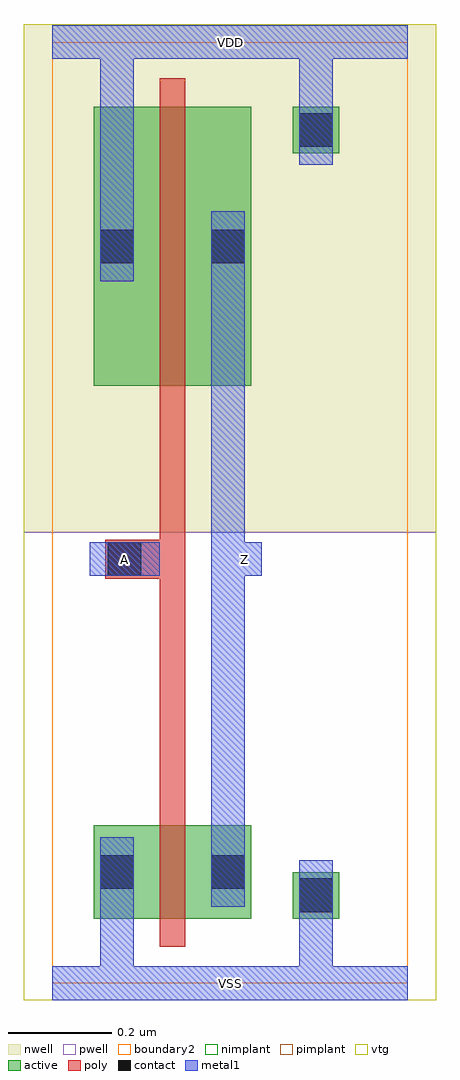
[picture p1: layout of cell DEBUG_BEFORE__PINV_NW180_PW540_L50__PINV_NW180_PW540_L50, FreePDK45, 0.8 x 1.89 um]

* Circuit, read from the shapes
.subckt DEBUG_BEFORE__PINV_NW180_PW540_L50__PINV_NW180_PW540_L50 A VDD VSS Z
M1 Z A VSS VSS nfet w=0.18u l=0.05u
M2 Z A VDD VDD pfet w=0.54u l=0.05u
.ends

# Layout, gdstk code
import gdstk
lib = gdstk.Library(unit=1e-6, precision=5e-10)
def R(c, l, rs):  # rectangles x0, y0, x1, y1
    for r in rs: c.add(gdstk.rectangle(r[:2], r[2:], *l))
active = (1, 0)
pwell = (2, 0)
nwell = (3, 0)
nimplant = (4, 0)
pimplant = (5, 0)
vtg = (6, 0)
poly = (9, 0)
contact = (10, 0)
metal1 = (11, 0)
boundary2 = (239, 0)

debug_before__pinv_nw180 = lib.new_cell('DEBUG_BEFORE__PINV_NW180_PW540_L50__TRANSMISSION_GATE_NW250_PW500_L50_contact_8')
R(debug_before__pinv_nw180, active, [(0,0.0225,0.09,0.1125)])
R(debug_before__pinv_nw180, nwell, [(-0.055,-0.0325,0.145,0.1675)])
R(debug_before__pinv_nw180, pimplant, [(0,0.0225,0.09,0.1125)])
R(debug_before__pinv_nw180, contact, [(0.0125,0.035,0.0775,0.1)])
R(debug_before__pinv_nw180, metal1, [(0.0125,0,0.0775,0.135)])
R(debug_before__pinv_nw180, boundary2, [(-0.055,-0.0325,0.145,0.1675)])

c_debug_before__pinv_nw180 = lib.new_cell('DEBUG_BEFORE__PINV_NW180_PW540_L50__PINV_NW180_PW540_L50_pmos_m1_w0_540_sm1_dm1_da_p')
R(c_debug_before__pinv_nw180, active, [(0,0,0.305,0.54)])
R(c_debug_before__pinv_nw180, nwell, [(-0.08,-0.08,0.385,0.62)])
R(c_debug_before__pinv_nw180, pimplant, [(0,0,0.305,0.54)])
R(c_debug_before__pinv_nw180, vtg, [(-0.08,-0.08,0.385,0.62)])
R(c_debug_before__pinv_nw180, poly, [(0.1275,-0.055,0.1775,0.595), (0.1275,-0.055,0.1775,0.595)])
R(c_debug_before__pinv_nw180, metal1, [(0.0125,0.2025,0.0775,0.3375), (0.2275,0.2025,0.2925,0.3375)])
R(c_debug_before__pinv_nw180, boundary2, [(-0.08,-0.08,0.385,0.62)])
c_debug_before__pinv_nw180.add(gdstk.Reference(debug_before__pinv_nw180, (0,0.2025)))
c_debug_before__pinv_nw180.add(gdstk.Reference(debug_before__pinv_nw180, (0.215,0.2025)))
c_debug_before__pinv_nw180.add(gdstk.Label('G', (0.1525,0.27), layer=9, texttype=0))
c_debug_before__pinv_nw180.add(gdstk.Label('S', (0.045,0.27), layer=11, texttype=0))
c_debug_before__pinv_nw180.add(gdstk.Label('D', (0.26,0.27), layer=11, texttype=0))

c_debug_before__pinv_nw180_ = lib.new_cell('DEBUG_BEFORE__PINV_NW180_PW540_L50__TRANSMISSION_GATE_NW250_PW500_L50_contact_7')
R(c_debug_before__pinv_nw180_, active, [(0,0.0225,0.09,0.1125)])
R(c_debug_before__pinv_nw180_, pwell, [(-0.055,-0.0325,0.145,0.1675)])
R(c_debug_before__pinv_nw180_, nimplant, [(0,0.0225,0.09,0.1125)])
R(c_debug_before__pinv_nw180_, contact, [(0.0125,0.035,0.0775,0.1)])
R(c_debug_before__pinv_nw180_, metal1, [(0.0125,0,0.0775,0.135)])
R(c_debug_before__pinv_nw180_, boundary2, [(-0.055,-0.0325,0.145,0.1675)])

c_debug_before__pinv_nw180__ = lib.new_cell('DEBUG_BEFORE__PINV_NW180_PW540_L50__PINV_NW180_PW270_L50_nmos_m1_w0_180_sm1_dm1_da_p')
R(c_debug_before__pinv_nw180__, active, [(0,0,0.305,0.18)])
R(c_debug_before__pinv_nw180__, pwell, [(-0.08,-0.08,0.385,0.26)])
R(c_debug_before__pinv_nw180__, nimplant, [(0,0,0.305,0.18)])
R(c_debug_before__pinv_nw180__, vtg, [(-0.08,-0.08,0.385,0.26)])
R(c_debug_before__pinv_nw180__, poly, [(0.1275,-0.055,0.1775,0.235), (0.1275,-0.055,0.1775,0.235)])
R(c_debug_before__pinv_nw180__, metal1, [(0.0125,0.0225,0.0775,0.1575), (0.2275,0.0225,0.2925,0.1575)])
R(c_debug_before__pinv_nw180__, boundary2, [(-0.08,-0.08,0.385,0.26)])
c_debug_before__pinv_nw180__.add(gdstk.Reference(c_debug_before__pinv_nw180_, (0,0.0225)))
c_debug_before__pinv_nw180__.add(gdstk.Reference(c_debug_before__pinv_nw180_, (0.215,0.0225)))
c_debug_before__pinv_nw180__.add(gdstk.Label('G', (0.1525,0.09), layer=9, texttype=0))
c_debug_before__pinv_nw180__.add(gdstk.Label('S', (0.045,0.09), layer=11, texttype=0))
c_debug_before__pinv_nw180__.add(gdstk.Label('D', (0.26,0.09), layer=11, texttype=0))

c_debug_before__pinv_nw180___ = lib.new_cell('DEBUG_BEFORE__PINV_NW180_PW540_L50__TRANSMISSION_GATE_NW250_PW500_L50_contact_9')
R(c_debug_before__pinv_nw180___, active, [(0,0.0225,0.09,0.1125)])
R(c_debug_before__pinv_nw180___, nwell, [(-0.055,-0.0325,0.145,0.1675)])
R(c_debug_before__pinv_nw180___, nimplant, [(0,0.0225,0.09,0.1125)])
R(c_debug_before__pinv_nw180___, contact, [(0.0125,0.035,0.0775,0.1)])
R(c_debug_before__pinv_nw180___, metal1, [(0.0125,0,0.0775,0.135)])
R(c_debug_before__pinv_nw180___, boundary2, [(-0.055,-0.0325,0.145,0.1675)])

c_debug_before__pinv_nw180____ = lib.new_cell('DEBUG_BEFORE__PINV_NW180_PW540_L50__TRANSMISSION_GATE_NW250_PW500_L50_contact_10')
R(c_debug_before__pinv_nw180____, active, [(0,0.0225,0.09,0.1125)])
R(c_debug_before__pinv_nw180____, pwell, [(-0.055,-0.0325,0.145,0.1675)])
R(c_debug_before__pinv_nw180____, pimplant, [(0,0.0225,0.09,0.1125)])
R(c_debug_before__pinv_nw180____, contact, [(0.0125,0.035,0.0775,0.1)])
R(c_debug_before__pinv_nw180____, metal1, [(0.0125,0,0.0775,0.135)])
R(c_debug_before__pinv_nw180____, boundary2, [(-0.055,-0.0325,0.145,0.1675)])

c_debug_before__pinv_nw180_____ = lib.new_cell('DEBUG_BEFORE__PINV_NW180_PW540_L50__PINV_NW180_PW270_L50_contact_11')
R(c_debug_before__pinv_nw180_____, poly, [(0.03,0,0.105,0.075)])
R(c_debug_before__pinv_nw180_____, contact, [(0.035,0.005,0.1,0.07)])
R(c_debug_before__pinv_nw180_____, metal1, [(0,0.005,0.135,0.07)])
R(c_debug_before__pinv_nw180_____, boundary2, [(0,0,0.135,0.075)])

c_debug_before__pinv_nw180______ = lib.new_cell('DEBUG_BEFORE__PINV_NW180_PW540_L50__PINV_NW180_PW540_L50_core')
R(c_debug_before__pinv_nw180______, pwell, [(-0.055,-0.0325,0.7425,0.8725)])
R(c_debug_before__pinv_nw180______, nwell, [(-0.055,0.8725,0.7425,1.855)])
R(c_debug_before__pinv_nw180______, vtg, [(-0.055,-0.0325,0.7425,0.8725), (-0.055,0.8725,0.7425,1.855)])
R(c_debug_before__pinv_nw180______, poly, [(0.2075,0.36,0.2575,1.1), (0.14,0.7825,0.2075,0.8575)])
R(c_debug_before__pinv_nw180______, metal1, [(0,-0.0325,0.6875,0.0325), (0.0925,-0.0325,0.1575,0.1475), (0.4775,0,0.5425,0.17), (0.3075,0.1475,0.3725,1.4925), (0.0725,0.7875,0.2075,0.8525), (0.34,0.7875,0.405,0.8525), (0.0925,1.3575,0.1575,1.8525), (0.4775,1.65,0.5425,1.82), (0,1.7875,0.6875,1.8525)])
R(c_debug_before__pinv_nw180______, boundary2, [(0,0,0.6875,1.82), (0,0,0.6875,1.82)])
c_debug_before__pinv_nw180______.add(gdstk.Reference(c_debug_before__pinv_nw180, (0.08,1.155)))
c_debug_before__pinv_nw180______.add(gdstk.Reference(c_debug_before__pinv_nw180__, (0.08,0.125)))
c_debug_before__pinv_nw180______.add(gdstk.Reference(c_debug_before__pinv_nw180___, (0.465,1.5825)))
c_debug_before__pinv_nw180______.add(gdstk.Reference(c_debug_before__pinv_nw180____, (0.465,0.1025)))
c_debug_before__pinv_nw180______.add(gdstk.Reference(c_debug_before__pinv_nw180_____, (0.0725,0.7825)))
c_debug_before__pinv_nw180______.add(gdstk.Label('A', (0.14,0.82), layer=11, texttype=0))
c_debug_before__pinv_nw180______.add(gdstk.Label('Z', (0.3725,0.82), layer=11, texttype=0))
c_debug_before__pinv_nw180______.add(gdstk.Label('gnd', (0.344,0), layer=11, texttype=0))
c_debug_before__pinv_nw180______.add(gdstk.Label('vdd', (0.344,1.82), layer=11, texttype=0))

c_debug_before__pinv_nw180_______ = lib.new_cell('DEBUG_BEFORE__PINV_NW180_PW540_L50__PINV_NW180_PW540_L50')
R(c_debug_before__pinv_nw180_______, metal1, [(0,-0.0325,0.6875,0.0325), (0.0725,0.7875,0.2075,0.8525), (0.34,0.7875,0.405,0.8525), (0,1.7875,0.6875,1.8525)])
R(c_debug_before__pinv_nw180_______, boundary2, [(0,0,0.6875,1.82)])
c_debug_before__pinv_nw180_______.add(gdstk.Reference(c_debug_before__pinv_nw180______, (0,0)))
c_debug_before__pinv_nw180_______.add(gdstk.Label('A', (0.14,0.82), layer=11, texttype=0))
c_debug_before__pinv_nw180_______.add(gdstk.Label('Z', (0.3725,0.82), layer=11, texttype=0))
c_debug_before__pinv_nw180_______.add(gdstk.Label('VDD', (0.344,1.82), layer=11, texttype=0))
c_debug_before__pinv_nw180_______.add(gdstk.Label('VSS', (0.344,0), layer=11, texttype=0))

lib.write_gds('DEBUG_BEFORE__PINV_NW180_PW540_L50__PINV_NW180_PW540_L50.gds')
